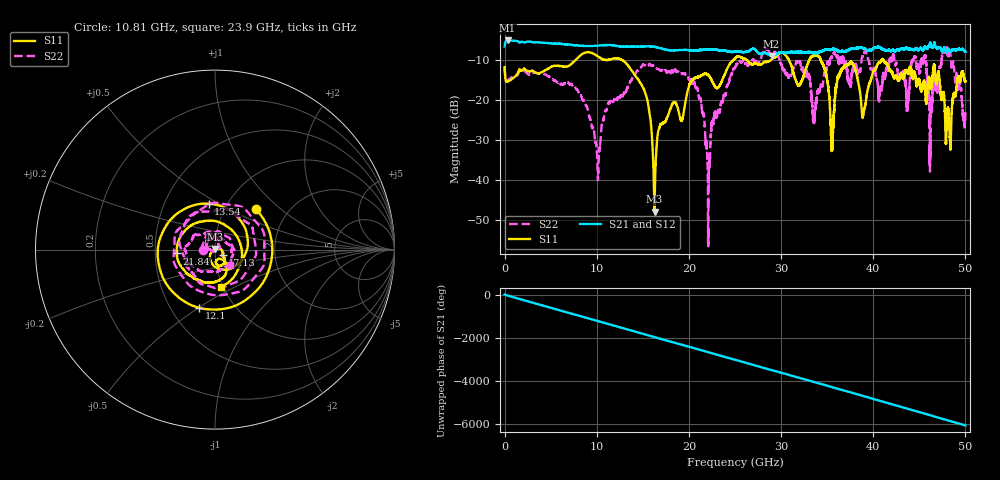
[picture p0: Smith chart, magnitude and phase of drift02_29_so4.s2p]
!Created with skrf (http://scikit-rf.org).
# Hz S RI R 50.0
!freq ReS11 ImS11 ReS21 ImS21 ReS12 ImS12 ReS22 ImS22
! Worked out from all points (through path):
!   10001 points, 300 kHz to 50 GHz, reference 50 ohm
!   highest |S21| = -5.04 dB at 325.3 MHz (marker M1); lowest = -8.9 dB at 28.98 GHz (marker M2)
!   group delay of S21, straight-line fit = 336 ps
!   lowest |S11| = -47.8 dB at 16.27 GHz (marker M3), VSWR 1.01, Z = 49.9 + j0.401 ohm
!   |S11| at or under -10 dB: start of sweep to 7.668 GHz; 12.82 GHz to 24.78 GHz (11.96 GHz wide, 63.6 % of centre); 41.13 GHz to end of sweep (the widest 3 of 13)
!   |S22| runs from -56.5 to -6.7 dB; largest |S21 - S12| = 0.032
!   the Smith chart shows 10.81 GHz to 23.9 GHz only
!   S11 on the Smith chart (normalised r, x): 10.81 GHz: 1.38, +0.70; 12.1 GHz: 0.69, -0.50; 13.54 GHz: 0.82, +0.45; 17.13 GHz: 1.09, -0.06; 21.84 GHz: 0.65, -0.03; 23.9 GHz: 0.97, -0.43
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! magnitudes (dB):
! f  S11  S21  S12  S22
! 300 kHz  -11.7  -6.5  -6.5  -11.7
! 325.3 MHz  -15.3  -5.0  -5.0  -15.1
! 8.335 GHz  -8.6  -6.4  -6.4  -19.1
! 10.1 GHz  -9.0  -6.3  -6.3  -38.0
! 10.81 GHz  -9.8  -6.2  -6.2  -23.6
! 12.1 GHz  -9.5  -6.4  -6.4  -20.3
! 13.54 GHz  -11.7  -6.6  -6.6  -16.0
! 16.27 GHz  -47.8  -6.6  -6.6  -11.7
! 16.67 GHz  -27.7  -6.8  -6.8  -12.2
! 17.13 GHz  -25.8  -7.1  -7.1  -12.5
! 21.84 GHz  -13.4  -7.4  -7.3  -31.4
! 23.9 GHz  -13.5  -7.6  -7.6  -18.6
! 25 GHz  -9.5  -7.8  -7.9  -11.9
! 28.98 GHz  -9.8  -8.9  -8.8  -8.1
! 33.34 GHz  -9.0  -8.0  -8.0  -20.0
! 35.54 GHz  -31.5  -7.3  -7.3  -9.1
! 36.8 GHz  -11.8  -7.8  -7.7  -10.0
! 38.93 GHz  -23.4  -7.0  -7.1  -8.9
! 41.67 GHz  -12.0  -7.4  -7.5  -11.6
! 46.25 GHz  -17.2  -6.1  -6.1  -21.5
! 48.13 GHz  -22.1  -7.2  -7.1  -9.2
! 50 GHz  -15.2  -7.9  -7.9  -23.4
